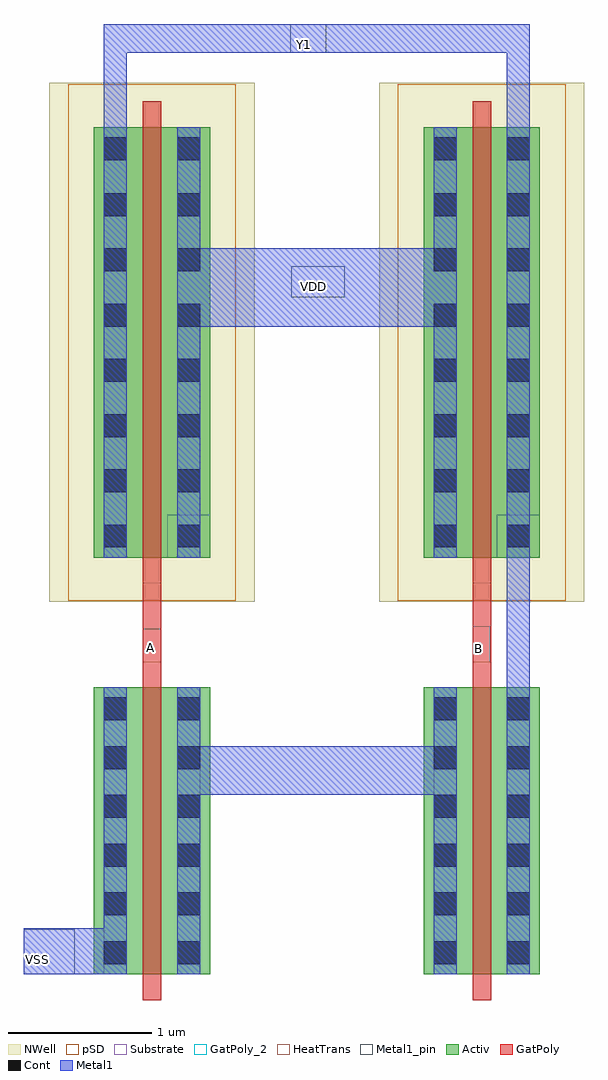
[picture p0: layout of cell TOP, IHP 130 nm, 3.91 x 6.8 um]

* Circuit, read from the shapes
.subckt TOP A B VDD VSS Y1
XM1 n1 A VSS VSUBS sg13_lv_nmos w=2u l=0.13u
XM2 Y1 B n1 VSUBS sg13_lv_nmos w=2u l=0.13u
XM3 VDD A Y1 n2 sg13_lv_pmos w=3u l=0.13u
XM4 Y1 B VDD n3 sg13_lv_pmos w=3u l=0.13u
.ends

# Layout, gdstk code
import gdstk
lib = gdstk.Library(unit=1e-6, precision=5e-09)
def R(c, l, rs):  # rectangles x0, y0, x1, y1
    for r in rs: c.add(gdstk.rectangle(r[:2], r[2:], *l))
def A(c, l, x, y, w, h, nx, ny, dx, dy):  # array of equal rectangles
    R(c, l, [(x+i*dx, y+j*dy, x+i*dx+w, y+j*dy+h) for i in range(nx) for j in range(ny)])
Activ = (1, 0)
GatPoly = (5, 0)
GatPoly_2 = (5, 2)
Cont = (6, 0)
Metal1 = (8, 0)
Metal1_pin = (8, 2)
pSD = (14, 0)
NWell = (31, 0)
Substrate = (40, 0)
HeatTrans = (51, 0)

pmos_1 = lib.new_cell('pmos$1')
R(pmos_1, Activ, [(0,0,0.3,0.3), (0,0,0.81,3), (0.51,0,0.81,0.3)])
R(pmos_1, GatPoly, [(0.34,-0.18,0.47,3.18), (0.34,-0.18,0.47,3.18)])
A(pmos_1, Cont, 0.07, 0.07, 0.16, 0.16, 1, 7, 0, 0.385)
A(pmos_1, Cont, 0.58, 0.07, 0.16, 0.16, 1, 7, 0, 0.385)
R(pmos_1, Cont, [(0.07,2.77,0.23,2.93), (0.58,2.77,0.74,2.93)])
R(pmos_1, Metal1, [(0.07,0,0.23,3), (0.07,0,0.23,3), (0.58,0,0.74,3), (0.58,0,0.74,3)])
R(pmos_1, pSD, [(-0.18,-0.3,0.99,3.3)])
R(pmos_1, NWell, [(-0.31,-0.31,1.12,3.31)])
R(pmos_1, Substrate, [(0.51,0,0.81,0.3)])
R(pmos_1, HeatTrans, [(0.34,-0.18,0.47,3.18)])
pmos_1.add(gdstk.Label('pmos', (0.405,1.5), layer=63, texttype=0))
pmos_1.add(gdstk.Label('pmos', (0.405,1.5), layer=51, texttype=0))

nmos_1 = lib.new_cell('nmos$1')
R(nmos_1, Activ, [(0,0,0.3,0.3), (0,0,0.81,2), (0.51,0,0.81,0.3)])
R(nmos_1, GatPoly, [(0.34,-0.18,0.47,2.18)])
R(nmos_1, GatPoly_2, [(0.34,-0.18,0.47,2.18)])
A(nmos_1, Cont, 0.07, 0.07, 0.16, 0.16, 1, 6, 0, 0.34)
A(nmos_1, Cont, 0.58, 0.07, 0.16, 0.16, 1, 6, 0, 0.34)
R(nmos_1, Metal1, [(0.07,0,0.23,2), (0.58,0,0.74,2)])
R(nmos_1, Metal1_pin, [(0.07,0,0.23,2), (0.58,0,0.74,2)])
R(nmos_1, HeatTrans, [(0.34,-0.18,0.47,2.18)])
nmos_1.add(gdstk.Label('nmos', (0.405,1), layer=63, texttype=0))
nmos_1.add(gdstk.Label('nmos', (0.405,1), layer=51, texttype=0))

top = lib.new_cell('TOP')
R(top, GatPoly, [(0.47,4.355,0.6,4.9), (2.77,4.355,2.9,4.9)])
R(top, GatPoly_2, [(0.47,4.35,0.6,4.585), (2.77,4.355,2.895,4.6)])
R(top, Metal1, [(-0.36,2.175,0.36,2.495), (0.87,3.425,2.5,3.765), (3.01,4.175,3.17,5.08), (0.87,6.69,2.505,7.235), (0.2,8.08,0.36,8.8), (3.01,8.08,3.17,8.8), (0.36,8.6,3.01,8.8)])
R(top, Metal1_pin, [(-0.36,2.175,-0.005,2.49), (1.505,6.895,1.88,7.11), (1.5,8.6,1.75,8.8)])
top.add(gdstk.Reference(pmos_1, (0.13,5.08)))
top.add(gdstk.Reference(nmos_1, (0.13,2.175)))
top.add(gdstk.Reference(pmos_1, (2.43,5.08)))
top.add(gdstk.Reference(nmos_1, (2.43,2.175)))
top.add(gdstk.Label('Y1', (1.6,8.66), layer=8, texttype=2))
top.add(gdstk.Label('VDD', (1.66,6.97), layer=8, texttype=2))
top.add(gdstk.Label('VSS', (-0.265,2.28), layer=8, texttype=2))
top.add(gdstk.Label('A', (0.525,4.45), layer=5, texttype=2))
top.add(gdstk.Label('B', (2.815,4.445), layer=5, texttype=2))

lib.write_gds('TOP.gds')
